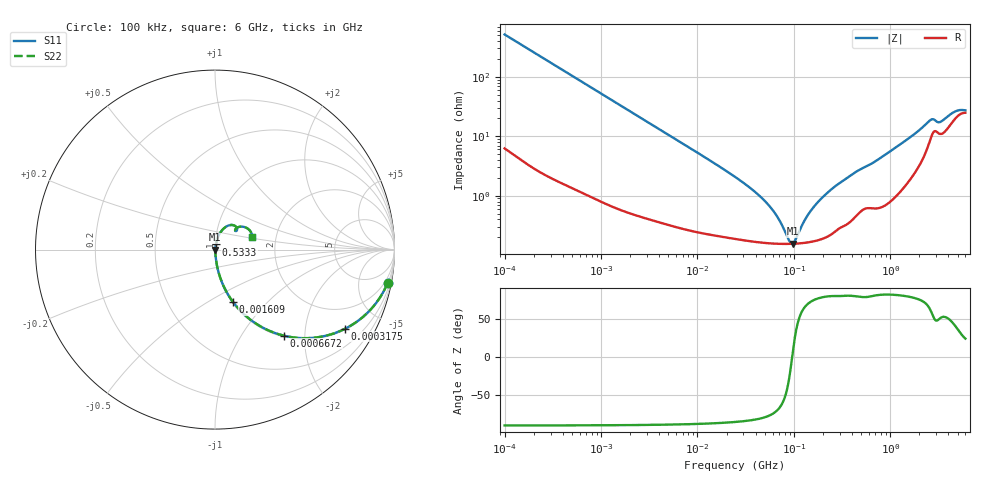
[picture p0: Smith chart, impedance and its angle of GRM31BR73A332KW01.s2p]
!Murata Part Number: GRM31BR73A332KW01
!These Parameters are Measured in Series Mode Connection
!Data Generated on Mar 30, 2021
!  o--ll--o
!Port1  Port2
!  o------o
!Operation Temp=25[degC], DC Bias Voltage=0[V]
!Freq. Start=100[kHz] Stop=6[GHz] 401[Steps]
# Hz S RI R 50
!Freq.(Hz) S11(Real) S11(Imag) S21(Real) S21(Imag) S12(Real) S12(Imag) S22(Real) S22(Imag)
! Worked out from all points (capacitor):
!   401 points, 100 kHz to 6 GHz, reference 50 ohm
!   read as one part in series: C = 3.08 nF near 105.7 kHz
!   lowest |Z| = 156 mohm at 96.9 MHz (marker M1)
!   series resonance near 95.82 MHz, so ESL is about 900 pH
!   S11 on the Smith chart (normalised r, x): 100 kHz: 1, -10; 317.5 kHz: 1.04, -3.28; 667.2 kHz: 1.02, -1.57; 1.609 MHz: 1.01, -0.65; 533.3 MHz: 1.01, +0.06; 6 GHz: 1.50, +0.22
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100000  0.9617 -0.1859  0.0383 0.1859  0.0383 0.1859  0.9617 -0.1859
188254  0.8808 -0.3185  0.1192 0.3185  0.1192 0.3185  0.8808 -0.3185
317472  0.7261 -0.4402  0.2739 0.4402  0.2739 0.4402  0.7261 -0.4402
631452  0.4075 -0.4846  0.5925 0.4846  0.5925 0.4846  0.4075 -0.4846
667162  0.3818 -0.479  0.6182 0.479  0.6182 0.479  0.3818 -0.479
1035994  0.2075 -0.398  0.7925 0.398  0.7925 0.398  0.2075 -0.398
1608730  0.1007 -0.2923  0.8993 0.2923  0.8993 0.2923  0.1007 -0.2923
3987316  0.0207 -0.1295  0.9793 0.1295  0.9793 0.1295  0.0207 -0.1295
2.517799e7  0.00226 -0.02  0.9977 0.02  0.9977 0.02  0.00226 -0.02
5.438656e7  0.00163 -0.00683  0.9984 0.00683  0.9984 0.00683  0.00163 -0.00683
6.966265e7  0.00157 -0.00372  0.9984 0.00372  0.9984 0.00372  0.00157 -0.00372
8.922949e7  0.00155 -0.000819  0.9985 0.000819  0.9985 0.000819  0.00155 -0.000819
9.690463e7  0.00155 0.000131  0.9984 -0.000131  0.9984 -0.000131  0.00155 0.000131
1.546735e8  0.00172 0.00575  0.9983 -0.00575  0.9983 -0.00575  0.00172 0.00575
2.608424e8  0.0026 0.0137  0.9974 -0.0137  0.9974 -0.0137  0.0026 0.0137
5.332833e8  0.00674 0.0289  0.9933 -0.0289  0.9933 -0.0289  0.00674 0.0289
9.76689e8  0.0105 0.0532  0.9895 -0.0532  0.9895 -0.0532  0.0105 0.0532
1.838654e9  0.0364 0.1043  0.9636 -0.1043  0.9636 -0.1043  0.0364 0.1043
2.55767e9  0.0966 0.1372  0.9034 -0.1372  0.9034 -0.1372  0.0966 0.1372
3.276068e9  0.1118 0.108  0.8882 -0.108  0.8882 -0.108  0.1118 0.108
4.557193e9  0.1747 0.1214  0.8253 -0.1214  0.8253 -0.1214  0.1747 0.1214
6e9  0.2056 0.0715  0.7944 -0.0715  0.7944 -0.0715  0.2056 0.0715
